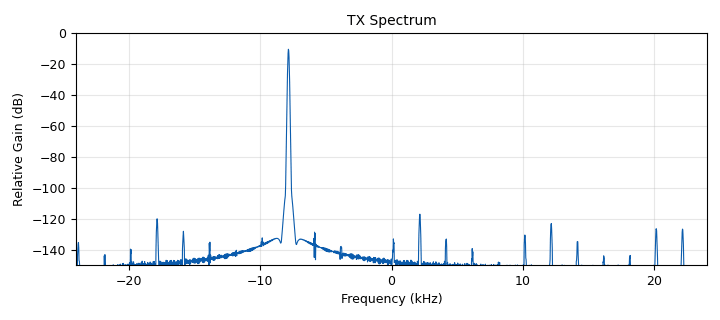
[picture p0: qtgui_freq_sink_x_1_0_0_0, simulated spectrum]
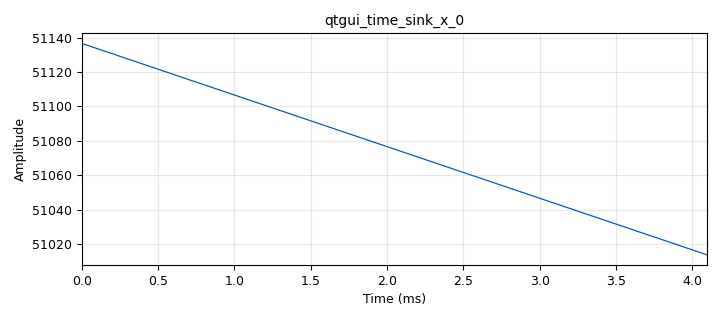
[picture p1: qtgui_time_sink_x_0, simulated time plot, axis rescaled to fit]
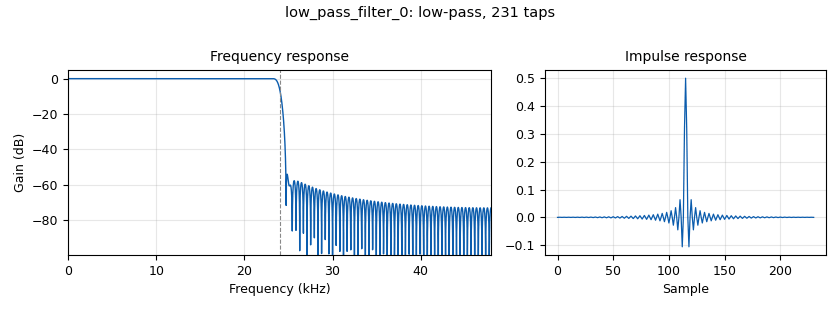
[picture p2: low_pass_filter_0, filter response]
<?xml version='1.0' encoding='utf-8'?>
<?grc format='1' created='3.7.12'?>
<flow_graph>
<block>
<key>options</key>
<param><key>id</key><value>strobe_freq_test</value></param>
<param><key>author</key><value>Zach Leffke, KJ4QLP</value></param>
<param><key>description</key><value>VCC Burst TX/RX, 9600 Baud GMSK, AX.25</value></param>
<param><key>generate_options</key><value>qt_gui</value></param>
<param><key>title</key><value>VCC Burst TX/RX, 9600 Baud GMSK, AX.25, w/ PTT</value></param>
</block>
<block>
<key>variable_qtgui_entry</key>
<param><key>id</key><value>bb_gain</value></param>
<param><key>value</key><value>.75</value></param>
<param><key>gui_hint</key><value>main_tab@2:2,2,1,1</value></param>
<param><key>label</key><value>BB Gain</value></param>
<param><key>type</key><value>real</value></param>
</block>
<block>
<key>variable_qtgui_entry</key>
<param><key>id</key><value>ceres_offset</value></param>
<param><key>value</key><value>0</value></param>
<param><key>gui_hint</key><value>main_tab@1:3,4,1,2</value></param>
<param><key>label</key><value>Ceres Offset</value></param>
<param><key>type</key><value>real</value></param>
</block>
<block>
<key>variable</key>
<param><key>id</key><value>chan_filt_cutoff</value></param>
<param><key>value</key><value>24000</value></param>
</block>
<block>
<key>variable</key>
<param><key>id</key><value>chan_filt_trans</value></param>
<param><key>value</key><value>1000</value></param>
</block>
<block>
<key>variable</key>
<param><key>id</key><value>decim</value></param>
<param><key>value</key><value>int(samp_rate/2000)</value></param>
</block>
<block>
<key>variable</key>
<param><key>id</key><value>decim_2</value></param>
<param><key>value</key><value>2</value></param>
</block>
<block>
<key>variable</key>
<param><key>id</key><value>fn</value></param>
<param><key>value</key><value>"VCC_{:s}_{:s}".format(gs_id, ts_str)</value></param>
</block>
<block>
<key>variable</key>
<param><key>id</key><value>fp</value></param>
<param><key>value</key><value>"/vtgs/captures/vcc/{:s}".format(fn)</value></param>
</block>
<block>
<key>variable</key>
<param><key>id</key><value>fsk_dev</value></param>
<param><key>value</key><value>10000</value></param>
</block>
<block>
<key>variable</key>
<param><key>id</key><value>gs_id</value></param>
<param><key>value</key><value>"VTGS"</value></param>
</block>
<block>
<key>variable</key>
<param><key>id</key><value>interp</value></param>
<param><key>value</key><value>48</value></param>
</block>
<block>
<key>variable</key>
<param><key>id</key><value>interp_2</value></param>
<param><key>value</key><value>1</value></param>
</block>
<block>
<key>variable_qtgui_entry</key>
<param><key>id</key><value>man_tune</value></param>
<param><key>value</key><value>0.0</value></param>
<param><key>gui_hint</key><value>main_tab@2:3,0,1,1</value></param>
<param><key>label</key><value>TX Freq Offset</value></param>
<param><key>type</key><value>real</value></param>
</block>
<block>
<key>variable_qtgui_entry</key>
<param><key>id</key><value>rx_freq</value></param>
<param><key>value</key><value>401.08e6</value></param>
<param><key>gui_hint</key><value>main_tab@0:4,0,1,2</value></param>
<param><key>label</key><value>RX Freq</value></param>
<param><key>type</key><value>real</value></param>
</block>
<block>
<key>variable_qtgui_entry</key>
<param><key>id</key><value>rx_gain</value></param>
<param><key>value</key><value>20</value></param>
<param><key>gui_hint</key><value>main_tab@0:4,2,1,2</value></param>
<param><key>label</key><value>RX Gain</value></param>
<param><key>type</key><value>real</value></param>
</block>
<block>
<key>variable</key>
<param><key>id</key><value>rx_offset</value></param>
<param><key>value</key><value>samp_rate/2.0</value></param>
</block>
<block>
<key>variable</key>
<param><key>id</key><value>samp_rate</value></param>
<param><key>value</key><value>float(250e3)</value></param>
</block>
<block>
<key>variable_qtgui_entry</key>
<param><key>id</key><value>trigger_thresh</value></param>
<param><key>value</key><value>-2</value></param>
<param><key>gui_hint</key><value>main_tab@1:4,4,1,2</value></param>
<param><key>label</key><value>Trigger Thresh</value></param>
<param><key>type</key><value>real</value></param>
</block>
<block>
<key>variable</key>
<param><key>id</key><value>ts_str</value></param>
<param><key>value</key><value>dt.strftime(dt.utcnow(), "%Y%m%d_%H%M%S" )</value></param>
</block>
<block>
<key>variable_qtgui_entry</key>
<param><key>id</key><value>tx_freq</value></param>
<param><key>value</key><value>401.12e6</value></param>
<param><key>gui_hint</key><value>main_tab@2:2,0,1,1</value></param>
<param><key>label</key><value>TX Freq</value></param>
<param><key>type</key><value>real</value></param>
</block>
<block>
<key>variable_qtgui_entry</key>
<param><key>id</key><value>tx_gain</value></param>
<param><key>value</key><value>14</value></param>
<param><key>gui_hint</key><value>main_tab@2:2,3,1,1</value></param>
<param><key>label</key><value>TX Gain</value></param>
<param><key>type</key><value>real</value></param>
</block>
<block>
<key>variable</key>
<param><key>id</key><value>tx_offset</value></param>
<param><key>value</key><value>0</value></param>
</block>
<block>
<key>variable</key>
<param><key>id</key><value>tx_sel</value></param>
<param><key>value</key><value>[tx_tune, -1*man_tune]</value></param>
</block>
<block>
<key>variable</key>
<param><key>id</key><value>tx_tune</value></param>
<param><key>value</key><value>tx_freq - uplink_freq</value></param>
</block>
<block>
<key>variable_qtgui_chooser</key>
<param><key>id</key><value>tx_tune_sel</value></param>
<param><key>value</key><value>0</value></param>
<param><key>gui_hint</key><value>main_tab@2:3,1,1,1</value></param>
<param><key>label0</key><value>Auto</value></param>
<param><key>label1</key><value>Manual</value></param>
<param><key>label</key><value>TX Tune Mode</value></param>
<param><key>num_opts</key><value>2</value></param>
<param><key>option0</key><value>0</value></param>
<param><key>option1</key><value>1</value></param>
<param><key>type</key><value>int</value></param>
</block>
<block>
<key>variable</key>
<param><key>id</key><value>uplink_freq</value></param>
<param><key>value</key><value>tx_freq</value></param>
</block>
<block>
<key>variable_qtgui_label</key>
<param><key>id</key><value>uplink_offset</value></param>
<param><key>value</key><value>-1* tx_tune</value></param>
<param><key>gui_hint</key><value>main_tab@2:2,1,1,1</value></param>
<param><key>type</key><value>real</value></param>
</block>
<block>
<key>analog_agc2_xx</key>
<param><key>id</key><value>analog_agc2_xx_0</value></param>
<param><key>attack_rate</key><value>10</value></param>
<param><key>comment</key><value>automatic gain control</value></param>
<param><key>decay_rate</key><value>1e-1</value></param>
<param><key>gain</key><value>1</value></param>
<param><key>max_gain</key><value>65536</value></param>
<param><key>reference</key><value>65536</value></param>
<param><key>type</key><value>complex</value></param>
</block>
<block>
<key>analog_sig_source_x</key>
<param><key>id</key><value>analog_sig_source_x_0</value></param>
<param><key>amp</key><value>1</value></param>
<param><key>_enabled</key><value>0</value></param>
<param><key>freq</key><value>-1 * tx_sel[tx_tune_sel]</value></param>
<param><key>offset</key><value>0</value></param>
<param><key>type</key><value>complex</value></param>
<param><key>samp_rate</key><value>samp_rate</value></param>
<param><key>waveform</key><value>analog.GR_COS_WAVE</value></param>
</block>
<block>
<key>analog_sig_source_x</key>
<param><key>id</key><value>analog_sig_source_x_0_0</value></param>
<param><key>amp</key><value>1</value></param>
<param><key>comment</key><value>VT Freq Offset</value></param>
<param><key>freq</key><value>-1 * ceres_offset</value></param>
<param><key>offset</key><value>0</value></param>
<param><key>type</key><value>complex</value></param>
<param><key>samp_rate</key><value>samp_rate</value></param>
<param><key>waveform</key><value>analog.GR_COS_WAVE</value></param>
</block>
<block>
<key>analog_sig_source_x</key>
<param><key>id</key><value>analog_sig_source_x_1</value></param>
<param><key>amp</key><value>150e3</value></param>
<param><key>freq</key><value>.1</value></param>
<param><key>offset</key><value>-75e3</value></param>
<param><key>type</key><value>float</value></param>
<param><key>samp_rate</key><value>samp_rate</value></param>
<param><key>waveform</key><value>analog.GR_TRI_WAVE</value></param>
</block>
<block>
<key>blocks_file_source</key>
<param><key>id</key><value>blocks_file_source_0</value></param>
<param><key>file</key><value>/home/zleffke/captures/lithium_20180327/downlink_data_1.fc32</value></param>
<param><key>type</key><value>complex</value></param>
<param><key>repeat</key><value>True</value></param>
</block>
<block>
<key>blocks_message_debug</key>
<param><key>id</key><value>blocks_message_debug_0</value></param>
</block>
<block>
<key>blocks_multiply_xx</key>
<param><key>id</key><value>blocks_multiply_xx_0</value></param>
<param><key>type</key><value>complex</value></param>
</block>
<block>
<key>blocks_multiply_xx</key>
<param><key>id</key><value>blocks_multiply_xx_0_0</value></param>
<param><key>comment</key><value>Center VCC-Ceres</value></param>
<param><key>type</key><value>complex</value></param>
</block>
<block>
<key>blocks_socket_pdu</key>
<param><key>id</key><value>blocks_socket_pdu_0</value></param>
<param><key>comment</key><value>RF Front End Daemon</value></param>
<param><key>host</key><value>0.0.0.0</value></param>
<param><key>mtu</key><value>1024</value></param>
<param><key>port</key><value>8001</value></param>
<param><key>tcp_no_delay</key><value>True</value></param>
<param><key>type</key><value>"TCP_SERVER"</value></param>
</block>
<block>
<key>blocks_socket_pdu</key>
<param><key>id</key><value>blocks_socket_pdu_0_2</value></param>
<param><key>comment</key><value>Expects KISS Frames on input
Sends KISS Frames on output
&lt;FEND&gt;&lt;CMD&gt;&lt;DATA&gt;&lt;FEND&gt;
DATA = AX.25 Frame</value></param>
<param><key>host</key><value>0.0.0.0</value></param>
<param><key>mtu</key><value>1024</value></param>
<param><key>port</key><value>8000</value></param>
<param><key>tcp_no_delay</key><value>False</value></param>
<param><key>type</key><value>"TCP_SERVER"</value></param>
</block>
<block>
<key>blocks_throttle</key>
<param><key>id</key><value>blocks_throttle_0</value></param>
<param><key>samples_per_second</key><value>samp_rate</value></param>
<param><key>type</key><value>complex</value></param>
</block>
<block>
<key>blocks_vco_c</key>
<param><key>id</key><value>blocks_vco_c_0</value></param>
<param><key>amplitude</key><value>1</value></param>
<param><key>samp_rate</key><value>samp_rate</value></param>
<param><key>sensitivity</key><value>1</value></param>
</block>
<block>
<key>burst_rx_es_hier</key>
<param><key>id</key><value>burst_rx_es_hier_0</value></param>
<param><key>avg_len</key><value>100</value></param>
<param><key>samp_rate</key><value>samp_rate/decim*interp</value></param>
<param><key>samps_per_symb</key><value>10</value></param>
<param><key>baud</key><value>9600</value></param>
<param><key>trigger_thresh</key><value>trigger_thresh</value></param>
</block>
<block>
<key>fsk_burst_detector</key>
<param><key>id</key><value>fsk_burst_detector_0</value></param>
<param><key>avg_len</key><value>100.0</value></param>
<param><key>cons_offset</key><value>3</value></param>
<param><key>decim</key><value>decim</value></param>
<param><key>fsk_dev</key><value>fsk_dev</value></param>
<param><key>interp</key><value>interp</value></param>
<param><key>samp_rate</key><value>samp_rate</value></param>
</block>
<block>
<key>gmsk_ax25_rx_hier</key>
<param><key>id</key><value>gmsk_ax25_rx_hier_0</value></param>
<param><key>lpf_cutoff</key><value>7.2e3</value></param>
<param><key>lpf_trans</key><value>1e3</value></param>
<param><key>samps_per_symb</key><value>5</value></param>
<param><key>quad_demod_gain</key><value>(samp_rate/decim*interp/decim_2*interp_2)/(2*math.pi*fsk_dev/8.0)</value></param>
<param><key>samp_rate</key><value>48000</value></param>
</block>
<block>
<key>gmsk_tx_burst_hier2</key>
<param><key>id</key><value>gmsk_tx_burst_hier2_0</value></param>
<param><key>bb_gain</key><value>0.75</value></param>
<param><key>bt</key><value>.5</value></param>
<param><key>delay_enable</key><value>1</value></param>
<param><key>ptt_delay</key><value>.2</value></param>
<param><key>pad_front</key><value>0</value></param>
<param><key>pad_tail</key><value>0</value></param>
<param><key>samp_rate</key><value>samp_rate</value></param>
</block>
<block>
<key>gpredict_MsgPairToVar</key>
<param><key>id</key><value>gpredict_MsgPairToVar_1</value></param>
<param><key>target</key><value>uplink_freq</value></param>
</block>
<block>
<key>gpredict_doppler</key>
<param><key>id</key><value>gpredict_doppler_0</value></param>
<param><key>gpredict_port</key><value>7356</value></param>
<param><key>gpredict_host</key><value>0.0.0.0</value></param>
<param><key>verbose</key><value>False</value></param>
</block>
<block>
<key>import</key>
<param><key>id</key><value>import_0</value></param>
<param><key>import</key><value>from datetime import datetime as dt; import string; import math</value></param>
</block>
<block>
<key>low_pass_filter</key>
<param><key>id</key><value>low_pass_filter_0</value></param>
<param><key>comment</key><value>Channel Filter
Wide enough for doppler spread</value></param>
<param><key>cutoff_freq</key><value>chan_filt_cutoff</value></param>
<param><key>decim</key><value>1</value></param>
<param><key>type</key><value>fir_filter_ccf</value></param>
<param><key>gain</key><value>1</value></param>
<param><key>samp_rate</key><value>samp_rate / decim *interp</value></param>
<param><key>width</key><value>chan_filt_trans</value></param>
<param><key>win</key><value>firdes.WIN_HAMMING</value></param>
</block>
<block>
<key>qtgui_tab_widget</key>
<param><key>id</key><value>main_tab</value></param>
<param><key>gui_hint</key><value>0,0,2,8</value></param>
<param><key>label0</key><value>Full Band</value></param>
<param><key>label1</key><value>RX Channel</value></param>
<param><key>label2</key><value>TX Channel</value></param>
<param><key>num_tabs</key><value>3</value></param>
</block>
<block>
<key>pyqt_ctime_plot</key>
<param><key>id</key><value>pyqt_ctime_plot_0</value></param>
<param><key>gui_hint</key><value>main_tab@1:2,4,1,4</value></param>
<param><key>l</key><value></value></param>
</block>
<block>
<key>pyqt_meta_text_output</key>
<param><key>id</key><value>pyqt_meta_text_output_0</value></param>
<param><key>gui_hint</key><value>main_tab@1:3,6,4,2</value></param>
</block>
<block>
<key>pyqt_text_output</key>
<param><key>id</key><value>pyqt_text_output_0</value></param>
<param><key>comment</key><value>rffe daemon feedback</value></param>
<param><key>gui_hint</key><value>main_tab@2:4,0,1,4</value></param>
</block>
<block>
<key>qtgui_freq_sink_x</key>
<param><key>id</key><value>qtgui_freq_sink_x_1</value></param>
<param><key>autoscale</key><value>True</value></param>
<param><key>bw</key><value>samp_rate*interp/decim*interp_2/decim_2</value></param>
<param><key>fc</key><value>0</value></param>
<param><key>fftsize</key><value>2048</value></param>
<param><key>gui_hint</key><value>main_tab@1:0,4,2,4</value></param>
<param><key>grid</key><value>True</value></param>
<param><key>label1</key><value>'orig'</value></param>
<param><key>label2</key><value>'corr'</value></param>
<param><key>name</key><value>"Burst RX Spectrum"</value></param>
<param><key>nconnections</key><value>2</value></param>
<param><key>showports</key><value>True</value></param>
<param><key>type</key><value>complex</value></param>
<param><key>wintype</key><value>firdes.WIN_BLACKMAN_hARRIS</value></param>
</block>
<block>
<key>qtgui_freq_sink_x</key>
<param><key>id</key><value>qtgui_freq_sink_x_1_0</value></param>
<param><key>bw</key><value>samp_rate / decim*interp / decim_2 * interp_2</value></param>
<param><key>fc</key><value>0</value></param>
<param><key>fftsize</key><value>2048</value></param>
<param><key>gui_hint</key><value>main_tab@1:0,0,2,4</value></param>
<param><key>grid</key><value>True</value></param>
<param><key>legend</key><value>False</value></param>
<param><key>label1</key><value>pre-d</value></param>
<param><key>name</key><value>"Ceres Spectrum"</value></param>
<param><key>showports</key><value>True</value></param>
<param><key>type</key><value>complex</value></param>
<param><key>update_time</key><value>0.0010</value></param>
<param><key>wintype</key><value>firdes.WIN_BLACKMAN_hARRIS</value></param>
<param><key>ymax</key><value>50</value></param>
<param><key>ymin</key><value>-50</value></param>
</block>
<block>
<key>qtgui_freq_sink_x</key>
<param><key>id</key><value>qtgui_freq_sink_x_1_0_0</value></param>
<param><key>bw</key><value>samp_rate/decim*interp/2</value></param>
<param><key>fc</key><value>0</value></param>
<param><key>fftsize</key><value>2048</value></param>
<param><key>gui_hint</key><value>main_tab@2:0,2,2,2</value></param>
<param><key>grid</key><value>True</value></param>
<param><key>legend</key><value>False</value></param>
<param><key>name</key><value>"TX Spectrum"</value></param>
<param><key>showports</key><value>True</value></param>
<param><key>type</key><value>complex</value></param>
<param><key>update_time</key><value>0.010</value></param>
<param><key>wintype</key><value>firdes.WIN_BLACKMAN_hARRIS</value></param>
<param><key>ymax</key><value>0</value></param>
<param><key>ymin</key><value>-150</value></param>
</block>
<block>
<key>qtgui_freq_sink_x</key>
<param><key>id</key><value>qtgui_freq_sink_x_1_0_0_0</value></param>
<param><key>bw</key><value>samp_rate/decim*interp/2</value></param>
<param><key>fc</key><value>0</value></param>
<param><key>fftsize</key><value>2048</value></param>
<param><key>grid</key><value>True</value></param>
<param><key>legend</key><value>False</value></param>
<param><key>name</key><value>"TX Spectrum"</value></param>
<param><key>showports</key><value>True</value></param>
<param><key>type</key><value>complex</value></param>
<param><key>update_time</key><value>0.010</value></param>
<param><key>wintype</key><value>firdes.WIN_BLACKMAN_hARRIS</value></param>
<param><key>ymax</key><value>0</value></param>
<param><key>ymin</key><value>-150</value></param>
</block>
<block>
<key>qtgui_freq_sink_x</key>
<param><key>id</key><value>qtgui_freq_sink_x_1_0_1</value></param>
<param><key>bw</key><value>samp_rate / 2</value></param>
<param><key>fc</key><value>rx_freq</value></param>
<param><key>fftsize</key><value>2048</value></param>
<param><key>gui_hint</key><value>main_tab@0:0,0,1,8</value></param>
<param><key>grid</key><value>True</value></param>
<param><key>legend</key><value>False</value></param>
<param><key>label1</key><value>pre-d</value></param>
<param><key>name</key><value>"VCC RX Spectrum"</value></param>
<param><key>showports</key><value>True</value></param>
<param><key>type</key><value>complex</value></param>
<param><key>update_time</key><value>0.0010</value></param>
<param><key>wintype</key><value>firdes.WIN_BLACKMAN_hARRIS</value></param>
<param><key>ymax</key><value>-40</value></param>
<param><key>ymin</key><value>-150</value></param>
</block>
<block>
<key>qtgui_time_sink_x</key>
<param><key>id</key><value>qtgui_time_sink_x_0</value></param>
<param><key>color1</key><value>"blue"</value></param>
<param><key>label1</key><value></value></param>
<param><key>size</key><value>1024</value></param>
<param><key>srate</key><value>samp_rate</value></param>
<param><key>type</key><value>float</value></param>
</block>
<block>
<key>qtgui_waterfall_sink_x</key>
<param><key>id</key><value>qtgui_waterfall_sink_x_0</value></param>
<param><key>bw</key><value>samp_rate/2</value></param>
<param><key>fc</key><value>rx_freq</value></param>
<param><key>fftsize</key><value>2048</value></param>
<param><key>gui_hint</key><value>main_tab@0:1,0,1,8</value></param>
<param><key>grid</key><value>True</value></param>
<param><key>showports</key><value>True</value></param>
<param><key>type</key><value>complex</value></param>
<param><key>update_time</key><value>0.010</value></param>
<param><key>wintype</key><value>firdes.WIN_BLACKMAN_hARRIS</value></param>
</block>
<block>
<key>qtgui_waterfall_sink_x</key>
<param><key>id</key><value>qtgui_waterfall_sink_x_0_0</value></param>
<param><key>bw</key><value>samp_rate / decim*interp / decim_2 * interp_2</value></param>
<param><key>fc</key><value>0</value></param>
<param><key>fftsize</key><value>2048</value></param>
<param><key>gui_hint</key><value>main_tab@1:2,0,2,4</value></param>
<param><key>grid</key><value>True</value></param>
<param><key>int_max</key><value>50</value></param>
<param><key>int_min</key><value>-50</value></param>
<param><key>showports</key><value>True</value></param>
<param><key>type</key><value>complex</value></param>
<param><key>update_time</key><value>0.0010</value></param>
<param><key>wintype</key><value>firdes.WIN_BLACKMAN_hARRIS</value></param>
</block>
<block>
<key>rational_resampler_xxx</key>
<param><key>id</key><value>rational_resampler_xxx_0</value></param>
<param><key>comment</key><value>reduce to 125k sample rate</value></param>
<param><key>decim</key><value>2</value></param>
<param><key>interp</key><value>1</value></param>
<param><key>taps</key><value></value></param>
<param><key>type</key><value>ccc</value></param>
</block>
<block>
<key>rational_resampler_xxx</key>
<param><key>id</key><value>rational_resampler_xxx_1</value></param>
<param><key>comment</key><value>reduce to 96k sample rate</value></param>
<param><key>decim</key><value>decim</value></param>
<param><key>interp</key><value>interp</value></param>
<param><key>taps</key><value></value></param>
<param><key>type</key><value>ccc</value></param>
</block>
<block>
<key>rational_resampler_xxx</key>
<param><key>id</key><value>rational_resampler_xxx_1_0</value></param>
<param><key>comment</key><value>reduce to 48k sample rate</value></param>
<param><key>decim</key><value>decim_2</value></param>
<param><key>interp</key><value>interp_2</value></param>
<param><key>taps</key><value></value></param>
<param><key>type</key><value>ccc</value></param>
</block>
<block>
<key>rational_resampler_xxx</key>
<param><key>id</key><value>rational_resampler_xxx_2</value></param>
<param><key>comment</key><value>reduce to 48k sample rate</value></param>
<param><key>decim</key><value>2</value></param>
<param><key>interp</key><value>1</value></param>
<param><key>taps</key><value></value></param>
<param><key>type</key><value>ccc</value></param>
</block>
<block>
<key>rational_resampler_xxx</key>
<param><key>id</key><value>rational_resampler_xxx_3</value></param>
<param><key>comment</key><value>reduce to 48k sample rate</value></param>
<param><key>decim</key><value>2</value></param>
<param><key>interp</key><value>1</value></param>
<param><key>taps</key><value></value></param>
<param><key>type</key><value>ccc</value></param>
</block>
<block>
<key>rational_resampler_xxx</key>
<param><key>id</key><value>rational_resampler_xxx_4</value></param>
<param><key>decim</key><value>decim</value></param>
<param><key>interp</key><value>interp/2</value></param>
<param><key>taps</key><value></value></param>
<param><key>type</key><value>ccc</value></param>
</block>
<block>
<key>rational_resampler_xxx</key>
<param><key>id</key><value>rational_resampler_xxx_4_0</value></param>
<param><key>decim</key><value>decim</value></param>
<param><key>interp</key><value>interp/2</value></param>
<param><key>taps</key><value></value></param>
<param><key>type</key><value>ccc</value></param>
</block>
<block>
<key>rffe_ctl_tag_ptt_pdu</key>
<param><key>id</key><value>rffe_ctl_tag_ptt_pdu_0</value></param>
<param><key>comment</key><value>PTT Trigger to RFFE Daemon</value></param>
<param><key>eob_key</key><value>"tx_eob"</value></param>
<param><key>ptt_mode</key><value>"TX"</value></param>
<param><key>sob_key</key><value>"tx_sob"</value></param>
<param><key>samp_rate</key><value>samp_rate</value></param>
<param><key>tx_time_key</key><value>"tx_time"</value></param>
</block>
<block>
<key>sigmf_sink</key>
<param><key>id</key><value>sigmf_sink_0</value></param>
<param><key>author</key><value>Zach Leffke</value></param>
<param><key>description</key><value>VCC TM/TC v1.0.0, GMSK9600, AX.25, w/ PTT</value></param>
<param><key>_enabled</key><value>0</value></param>
<param><key>num_extra_fields</key><value>0</value></param>
<param><key>field_1_key</key><value></value></param>
<param><key>field_1_type</key><value>float</value></param>
<param><key>field_1_value</key><value>0</value></param>
<param><key>field_10_key</key><value></value></param>
<param><key>field_10_type</key><value>string</value></param>
<param><key>field_10_value</key><value></value></param>
<param><key>field_11_key</key><value></value></param>
<param><key>field_11_type</key><value>string</value></param>
<param><key>field_11_value</key><value></value></param>
<param><key>field_12_key</key><value></value></param>
<param><key>field_12_type</key><value>string</value></param>
<param><key>field_12_value</key><value></value></param>
<param><key>field_13_key</key><value></value></param>
<param><key>field_13_type</key><value>string</value></param>
<param><key>field_13_value</key><value></value></param>
<param><key>field_14_key</key><value></value></param>
<param><key>field_14_type</key><value>string</value></param>
<param><key>field_14_value</key><value></value></param>
<param><key>field_15_key</key><value></value></param>
<param><key>field_15_type</key><value>string</value></param>
<param><key>field_15_value</key><value></value></param>
<param><key>field_16_key</key><value></value></param>
<param><key>field_16_type</key><value>string</value></param>
<param><key>field_16_value</key><value></value></param>
<param><key>field_17_key</key><value></value></param>
<param><key>field_17_type</key><value>string</value></param>
<param><key>field_17_value</key><value></value></param>
<param><key>field_18_key</key><value></value></param>
<param><key>field_18_type</key><value>string</value></param>
<param><key>field_18_value</key><value></value></param>
<param><key>field_19_key</key><value></value></param>
<param><key>field_19_type</key><value>string</value></param>
<param><key>field_19_value</key><value></value></param>
<param><key>field_2_key</key><value></value></param>
<param><key>field_2_type</key><value>string</value></param>
<param><key>field_2_value</key><value></value></param>
<param><key>field_20_key</key><value></value></param>
<param><key>field_20_type</key><value>string</value></param>
<param><key>field_20_value</key><value></value></param>
<param><key>field_21_key</key><value></value></param>
<param><key>field_21_type</key><value>string</value></param>
<param><key>field_21_value</key><value></value></param>
<param><key>field_22_key</key><value></value></param>
<param><key>field_22_type</key><value>string</value></param>
<param><key>field_22_value</key><value></value></param>
<param><key>field_23_key</key><value></value></param>
<param><key>field_23_type</key><value>string</value></param>
<param><key>field_23_value</key><value></value></param>
<param><key>field_24_key</key><value></value></param>
<param><key>field_24_type</key><value>string</value></param>
<param><key>field_24_value</key><value></value></param>
<param><key>field_25_key</key><value></value></param>
<param><key>field_25_type</key><value>string</value></param>
<param><key>field_25_value</key><value></value></param>
<param><key>field_3_key</key><value></value></param>
<param><key>field_3_type</key><value>string</value></param>
<param><key>field_3_value</key><value></value></param>
<param><key>field_4_key</key><value></value></param>
<param><key>field_4_type</key><value>string</value></param>
<param><key>field_4_value</key><value></value></param>
<param><key>field_5_key</key><value></value></param>
<param><key>field_5_type</key><value>string</value></param>
<param><key>field_5_value</key><value></value></param>
<param><key>field_6_key</key><value></value></param>
<param><key>field_6_type</key><value>string</value></param>
<param><key>field_6_value</key><value></value></param>
<param><key>field_7_key</key><value></value></param>
<param><key>field_7_type</key><value>string</value></param>
<param><key>field_7_value</key><value></value></param>
<param><key>field_8_key</key><value></value></param>
<param><key>field_8_type</key><value>string</value></param>
<param><key>field_8_value</key><value></value></param>
<param><key>field_9_key</key><value></value></param>
<param><key>field_9_type</key><value>string</value></param>
<param><key>field_9_value</key><value></value></param>
<param><key>filename</key><value>fp</value></param>
<param><key>hardware</key><value>2X M2 400CP30, ARR Preamp, N210 w/ UBX</value></param>
<param><key>type</key><value>fc32</value></param>
<param><key>license</key><value>MIT</value></param>
<param><key>append</key><value>False</value></param>
<param><key>samp_rate</key><value>samp_rate</value></param>
<param><key>time_mode</key><value>gr_sigmf.sigmf_time_mode_absolute</value></param>
</block>
<block>
<key>uhd_usrp_sink</key>
<param><key>id</key><value>uhd_usrp_sink_0</value></param>
<param><key>ant0</key><value>TX/RX</value></param>
<param><key>center_freq0</key><value>uhd.tune_request(tx_freq, tx_offset)</value></param>
<param><key>norm_gain0</key><value>False</value></param>
<param><key>gain0</key><value>tx_gain</value></param>
<param><key>clock_rate</key><value>0.0</value></param>
<param><key>dev_addr</key><value>"addr=192.168.10.6"</value></param>
<param><key>dev_args</key><value>""</value></param>
<param><key>_enabled</key><value>0</value></param>
<param><key>type</key><value>fc32</value></param>
<param><key>clock_source0</key><value>external</value></param>
<param><key>time_source0</key><value>external</value></param>
<param><key>samp_rate</key><value>samp_rate</value></param>
<param><key>hide_cmd_port</key><value>False</value></param>
<param><key>hide_lo_controls</key><value>True</value></param>
<param><key>sync</key><value>pc_clock</value></param>
<param><key>len_tag_name</key><value></value></param>
</block>
<block>
<key>uhd_usrp_source</key>
<param><key>id</key><value>uhd_usrp_source_1</value></param>
<param><key>ant0</key><value>RX2</value></param>
<param><key>center_freq0</key><value>uhd.tune_request(rx_freq, rx_offset)</value></param>
<param><key>dc_offs_enb0</key><value>True</value></param>
<param><key>iq_imbal_enb0</key><value>True</value></param>
<param><key>norm_gain0</key><value>False</value></param>
<param><key>gain0</key><value>rx_gain</value></param>
<param><key>clock_rate</key><value>0.0</value></param>
<param><key>dev_args</key><value>""</value></param>
<param><key>_enabled</key><value>0</value></param>
<param><key>clock_source0</key><value>external</value></param>
<param><key>time_source0</key><value>external</value></param>
<param><key>type</key><value>fc32</value></param>
<param><key>samp_rate</key><value>samp_rate</value></param>
<param><key>hide_cmd_port</key><value>False</value></param>
<param><key>hide_lo_controls</key><value>True</value></param>
<param><key>sync</key><value>pc_clock</value></param>
</block>
<block>
<key>vcc_qt_hex_text</key>
<param><key>id</key><value>vcc_qt_hex_text_tx</value></param>
<param><key>comment</key><value>tx ax.25 frames</value></param>
<param><key>gui_hint</key><value>main_tab@2:0,0,2,2</value></param>
</block>
<block>
<key>vcc_qt_hex_text</key>
<param><key>id</key><value>vcc_qt_hex_text_tx_0</value></param>
<param><key>comment</key><value>rx ax.25 frames</value></param>
<param><key>gui_hint</key><value>main_tab@1:5,0,2,6</value></param>
</block>
<block>
<key>virtual_sink</key>
<param><key>id</key><value>virtual_sink_2</value></param>
<param><key>stream_id</key><value>agc_filt</value></param>
</block>
<block>
<key>virtual_sink</key>
<param><key>id</key><value>virtual_sink_rx_kiss</value></param>
<param><key>stream_id</key><value>rx_kiss</value></param>
</block>
<block>
<key>virtual_sink</key>
<param><key>id</key><value>virtual_sink_tx_kiss</value></param>
<param><key>stream_id</key><value>tx_kiss</value></param>
</block>
<block>
<key>virtual_source</key>
<param><key>id</key><value>virtual_source_1_0</value></param>
<param><key>stream_id</key><value>agc_filt</value></param>
</block>
<block>
<key>virtual_source</key>
<param><key>id</key><value>virtual_source_rx_kiss</value></param>
<param><key>stream_id</key><value>rx_kiss</value></param>
</block>
<block>
<key>virtual_source</key>
<param><key>id</key><value>virtual_source_tx_kiss</value></param>
<param><key>stream_id</key><value>tx_kiss</value></param>
</block>
<connection><source_block_id>analog_agc2_xx_0</source_block_id><sink_block_id>low_pass_filter_0</sink_block_id><source_key>0</source_key><sink_key>0</sink_key></connection>
<connection><source_block_id>analog_sig_source_x_0</source_block_id><sink_block_id>blocks_multiply_xx_0</sink_block_id><source_key>0</source_key><sink_key>1</sink_key></connection>
<connection><source_block_id>analog_sig_source_x_0_0</source_block_id><sink_block_id>blocks_multiply_xx_0_0</sink_block_id><source_key>0</source_key><sink_key>1</sink_key></connection>
<connection><source_block_id>analog_sig_source_x_1</source_block_id><sink_block_id>blocks_vco_c_0</sink_block_id><source_key>0</source_key><sink_key>0</sink_key></connection>
<connection><source_block_id>analog_sig_source_x_1</source_block_id><sink_block_id>qtgui_time_sink_x_0</sink_block_id><source_key>0</source_key><sink_key>0</sink_key></connection>
<connection><source_block_id>blocks_file_source_0</source_block_id><sink_block_id>blocks_throttle_0</sink_block_id><source_key>0</source_key><sink_key>0</sink_key></connection>
<connection><source_block_id>blocks_multiply_xx_0</source_block_id><sink_block_id>rational_resampler_xxx_4</sink_block_id><source_key>0</source_key><sink_key>0</sink_key></connection>
<connection><source_block_id>blocks_multiply_xx_0</source_block_id><sink_block_id>uhd_usrp_sink_0</sink_block_id><source_key>0</source_key><sink_key>0</sink_key></connection>
<connection><source_block_id>blocks_multiply_xx_0_0</source_block_id><sink_block_id>rational_resampler_xxx_1</sink_block_id><source_key>0</source_key><sink_key>0</sink_key></connection>
<connection><source_block_id>blocks_socket_pdu_0</source_block_id><sink_block_id>pyqt_text_output_0</sink_block_id><source_key>pdus</source_key><sink_key>pdus</sink_key></connection>
<connection><source_block_id>blocks_socket_pdu_0_2</source_block_id><sink_block_id>virtual_sink_tx_kiss</sink_block_id><source_key>pdus</source_key><sink_key>in</sink_key></connection>
<connection><source_block_id>blocks_throttle_0</source_block_id><sink_block_id>blocks_multiply_xx_0_0</sink_block_id><source_key>0</source_key><sink_key>0</sink_key></connection>
<connection><source_block_id>blocks_throttle_0</source_block_id><sink_block_id>rational_resampler_xxx_0</sink_block_id><source_key>0</source_key><sink_key>0</sink_key></connection>
<connection><source_block_id>blocks_vco_c_0</source_block_id><sink_block_id>blocks_multiply_xx_0</sink_block_id><source_key>0</source_key><sink_key>1</sink_key></connection>
<connection><source_block_id>blocks_vco_c_0</source_block_id><sink_block_id>rational_resampler_xxx_4_0</sink_block_id><source_key>0</source_key><sink_key>0</sink_key></connection>
<connection><source_block_id>burst_rx_es_hier_0</source_block_id><sink_block_id>pyqt_ctime_plot_0</sink_block_id><source_key>brst_orig</source_key><sink_key>cpdus</sink_key></connection>
<connection><source_block_id>burst_rx_es_hier_0</source_block_id><sink_block_id>pyqt_meta_text_output_0</sink_block_id><source_key>brst_orig</source_key><sink_key>pdus</sink_key></connection>
<connection><source_block_id>burst_rx_es_hier_0</source_block_id><sink_block_id>rational_resampler_xxx_3</sink_block_id><source_key>1</source_key><sink_key>0</sink_key></connection>
<connection><source_block_id>burst_rx_es_hier_0</source_block_id><sink_block_id>rational_resampler_xxx_2</sink_block_id><source_key>0</source_key><sink_key>0</sink_key></connection>
<connection><source_block_id>fsk_burst_detector_0</source_block_id><sink_block_id>burst_rx_es_hier_0</sink_block_id><source_key>0</source_key><sink_key>1</sink_key></connection>
<connection><source_block_id>gmsk_ax25_rx_hier_0</source_block_id><sink_block_id>qtgui_freq_sink_x_1</sink_block_id><source_key>0</source_key><sink_key>1</sink_key></connection>
<connection><source_block_id>gmsk_ax25_rx_hier_0</source_block_id><sink_block_id>vcc_qt_hex_text_tx_0</sink_block_id><source_key>kiss</source_key><sink_key>pdus</sink_key></connection>
<connection><source_block_id>gmsk_ax25_rx_hier_0</source_block_id><sink_block_id>virtual_sink_rx_kiss</sink_block_id><source_key>kiss</source_key><sink_key>in</sink_key></connection>
<connection><source_block_id>gmsk_tx_burst_hier2_0</source_block_id><sink_block_id>vcc_qt_hex_text_tx</sink_block_id><source_key>ax25</source_key><sink_key>pdus</sink_key></connection>
<connection><source_block_id>gmsk_tx_burst_hier2_0</source_block_id><sink_block_id>blocks_multiply_xx_0</sink_block_id><source_key>0</source_key><sink_key>0</sink_key></connection>
<connection><source_block_id>gmsk_tx_burst_hier2_0</source_block_id><sink_block_id>rffe_ctl_tag_ptt_pdu_0</sink_block_id><source_key>0</source_key><sink_key>0</sink_key></connection>
<connection><source_block_id>gpredict_doppler_0</source_block_id><sink_block_id>gpredict_MsgPairToVar_1</sink_block_id><source_key>freq</source_key><sink_key>inpair</sink_key></connection>
<connection><source_block_id>low_pass_filter_0</source_block_id><sink_block_id>virtual_sink_2</sink_block_id><source_key>0</source_key><sink_key>0</sink_key></connection>
<connection><source_block_id>rational_resampler_xxx_0</source_block_id><sink_block_id>qtgui_freq_sink_x_1_0_1</sink_block_id><source_key>0</source_key><sink_key>0</sink_key></connection>
<connection><source_block_id>rational_resampler_xxx_0</source_block_id><sink_block_id>qtgui_waterfall_sink_x_0</sink_block_id><source_key>0</source_key><sink_key>0</sink_key></connection>
<connection><source_block_id>rational_resampler_xxx_1</source_block_id><sink_block_id>analog_agc2_xx_0</sink_block_id><source_key>0</source_key><sink_key>0</sink_key></connection>
<connection><source_block_id>rational_resampler_xxx_1_0</source_block_id><sink_block_id>qtgui_freq_sink_x_1_0</sink_block_id><source_key>0</source_key><sink_key>0</sink_key></connection>
<connection><source_block_id>rational_resampler_xxx_1_0</source_block_id><sink_block_id>qtgui_waterfall_sink_x_0_0</sink_block_id><source_key>0</source_key><sink_key>0</sink_key></connection>
<connection><source_block_id>rational_resampler_xxx_2</source_block_id><sink_block_id>qtgui_freq_sink_x_1</sink_block_id><source_key>0</source_key><sink_key>0</sink_key></connection>
<connection><source_block_id>rational_resampler_xxx_3</source_block_id><sink_block_id>gmsk_ax25_rx_hier_0</sink_block_id><source_key>0</source_key><sink_key>0</sink_key></connection>
<connection><source_block_id>rational_resampler_xxx_4</source_block_id><sink_block_id>qtgui_freq_sink_x_1_0_0</sink_block_id><source_key>0</source_key><sink_key>0</sink_key></connection>
<connection><source_block_id>rational_resampler_xxx_4_0</source_block_id><sink_block_id>qtgui_freq_sink_x_1_0_0_0</sink_block_id><source_key>0</source_key><sink_key>0</sink_key></connection>
<connection><source_block_id>rffe_ctl_tag_ptt_pdu_0</source_block_id><sink_block_id>blocks_socket_pdu_0</sink_block_id><source_key>ptt</source_key><sink_key>pdus</sink_key></connection>
<connection><source_block_id>uhd_usrp_source_1</source_block_id><sink_block_id>blocks_multiply_xx_0_0</sink_block_id><source_key>0</source_key><sink_key>0</sink_key></connection>
<connection><source_block_id>uhd_usrp_source_1</source_block_id><sink_block_id>rational_resampler_xxx_0</sink_block_id><source_key>0</source_key><sink_key>0</sink_key></connection>
<connection><source_block_id>uhd_usrp_source_1</source_block_id><sink_block_id>sigmf_sink_0</sink_block_id><source_key>0</source_key><sink_key>0</sink_key></connection>
<connection><source_block_id>virtual_source_1_0</source_block_id><sink_block_id>burst_rx_es_hier_0</sink_block_id><source_key>0</source_key><sink_key>0</sink_key></connection>
<connection><source_block_id>virtual_source_1_0</source_block_id><sink_block_id>fsk_burst_detector_0</sink_block_id><source_key>0</source_key><sink_key>0</sink_key></connection>
<connection><source_block_id>virtual_source_1_0</source_block_id><sink_block_id>rational_resampler_xxx_1_0</sink_block_id><source_key>0</source_key><sink_key>0</sink_key></connection>
<connection><source_block_id>virtual_source_rx_kiss</source_block_id><sink_block_id>blocks_socket_pdu_0_2</sink_block_id><source_key>out</source_key><sink_key>pdus</sink_key></connection>
<connection><source_block_id>virtual_source_tx_kiss</source_block_id><sink_block_id>blocks_message_debug_0</sink_block_id><source_key>out</source_key><sink_key>print</sink_key></connection>
<connection><source_block_id>virtual_source_tx_kiss</source_block_id><sink_block_id>gmsk_tx_burst_hier2_0</sink_block_id><source_key>out</source_key><sink_key>kiss/ax25</sink_key></connection>
</flow_graph>
